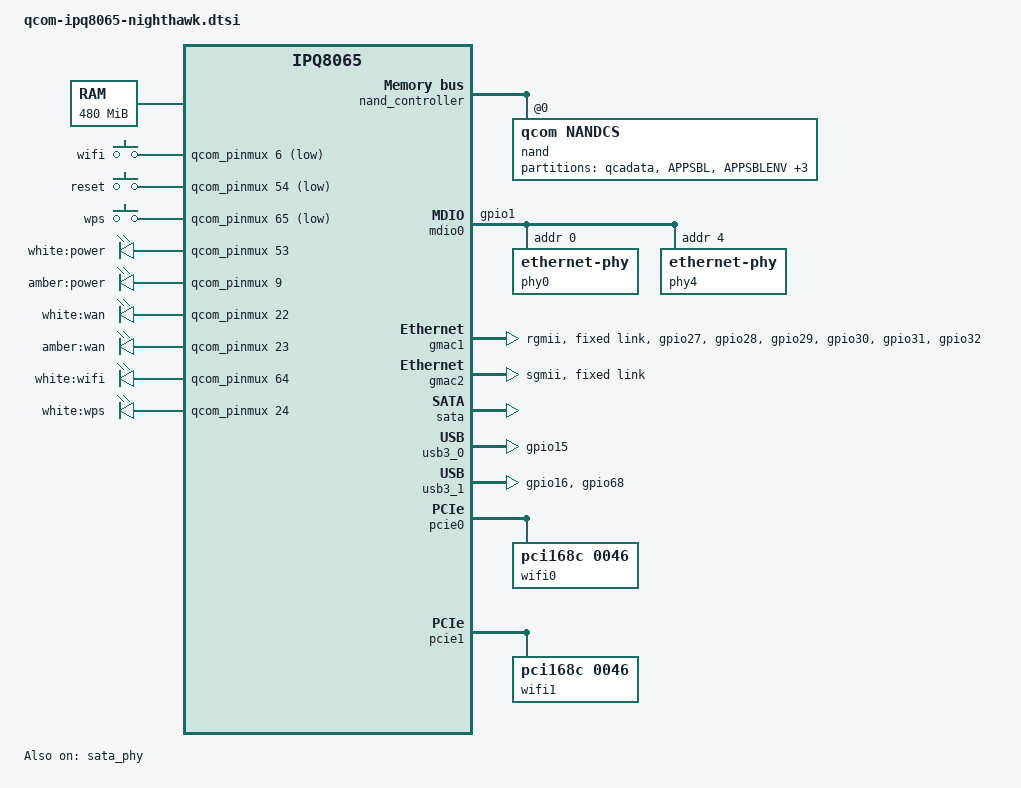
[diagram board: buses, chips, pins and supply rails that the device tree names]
#include "qcom-ipq8065.dtsi"

#include <dt-bindings/input/input.h>

/ {
	memory@0 {
		reg = <0x42000000 0x1e000000>;
		device_type = "memory";
	};

	reserved-memory {
		rsvd@5fe00000 {
			reg = <0x5fe00000 0x200000>;
			reusable;
		};

		ramoops@42100000 {
			compatible = "ramoops";
			reg = <0x42100000 0x40000>;
			record-size = <0x4000>;
			console-size = <0x4000>;
			ftrace-size = <0x4000>;
			pmsg-size = <0x4000>;
		};
	};

	aliases {
		label-mac-device = &gmac2;

		led-boot = &power_white;
		led-failsafe = &power_amber;
		led-running = &power_white;
		led-upgrade = &power_amber;

		mdio-gpio0 = &mdio0;
	};

	keys {
		compatible = "gpio-keys";
		pinctrl-0 = <&button_pins>;
		pinctrl-names = "default";

		wifi {
			label = "wifi";
			gpios = <&qcom_pinmux 6 GPIO_ACTIVE_LOW>;
			linux,code = <KEY_RFKILL>;
			debounce-interval = <60>;
			wakeup-source;
		};

		reset {
			label = "reset";
			gpios = <&qcom_pinmux 54 GPIO_ACTIVE_LOW>;
			linux,code = <KEY_RESTART>;
			debounce-interval = <60>;
			wakeup-source;
		};

		wps {
			label = "wps";
			gpios = <&qcom_pinmux 65 GPIO_ACTIVE_LOW>;
			linux,code = <KEY_WPS_BUTTON>;
			debounce-interval = <60>;
			wakeup-source;
		};
	};

	leds: leds {
		compatible = "gpio-leds";
		pinctrl-0 = <&led_pins>;
		pinctrl-names = "default";

		power_white: power_white {
			label = "white:power";
			gpios = <&qcom_pinmux 53 GPIO_ACTIVE_HIGH>;
			default-state = "keep";
		};

		power_amber: power_amber {
			label = "amber:power";
			gpios = <&qcom_pinmux 9 GPIO_ACTIVE_HIGH>;
		};

		wan_white {
			label = "white:wan";
			gpios = <&qcom_pinmux 22 GPIO_ACTIVE_HIGH>;
		};

		wan_amber {
			label = "amber:wan";
			gpios = <&qcom_pinmux 23 GPIO_ACTIVE_HIGH>;
		};

		wifi {
			label = "white:wifi";
			gpios = <&qcom_pinmux 64 GPIO_ACTIVE_HIGH>;
		};

		wps {
			label = "white:wps";
			gpios = <&qcom_pinmux 24 GPIO_ACTIVE_HIGH>;
		};
	};
};

&qcom_pinmux {
	button_pins: button_pins {
		mux {
			pins = "gpio6", "gpio54", "gpio65";
			function = "gpio";
			drive-strength = <2>;
			bias-pull-up;
		};
	};

	led_pins: led_pins {
		mux {
			pins = "gpio7", "gpio8", "gpio9",
				"gpio22", "gpio23", "gpio24",
				"gpio26", "gpio53", "gpio64";
			function = "gpio";
			drive-strength = <2>;
			bias-pull-down;
		};
	};

	mdio0_pins: mdio0_pins {
		clk {
			pins = "gpio1";
			input-disable;
		};
	};

	rgmii2_pins: rgmii2_pins {
		tx {
			pins = "gpio27", "gpio28", "gpio29",
				"gpio30", "gpio31", "gpio32";
			input-disable;
		};
	};

	spi_pins: spi_pins {
		mux {
			pins = "gpio18", "gpio19", "gpio21";
			function = "gsbi5";
			bias-pull-down;
		};

		data {
			pins = "gpio18", "gpio19";
			drive-strength = <10>;
		};

		cs {
			pins = "gpio20";
			drive-strength = <10>;
			bias-pull-up;
		};

		clk {
			pins = "gpio21";
			drive-strength = <12>;
		};
	};

	spi6_pins: spi6_pins {
		mux {
			pins = "gpio55", "gpio56", "gpio58";
			function = "gsbi6";
			bias-pull-down;
		};

		mosi {
			pins = "gpio55";
			drive-strength = <12>;
		};

		miso {
			pins = "gpio56";
			drive-strength = <14>;
		};

		cs {
			pins = "gpio57";
			drive-strength = <12>;
			bias-pull-up;
		};

		clk {
			pins = "gpio58";
			drive-strength = <12>;
		};

		reset {
			pins = "gpio33";
			drive-strength = <10>;
			bias-pull-down;
			output-high;
		};
	};

	usb0_pwr_en_pins: usb0_pwr_en_pins {
		mux {
			pins = "gpio15";
			function = "gpio";
			drive-strength = <12>;
			bias-pull-down;
			output-high;
		};
	};

	usb1_pwr_en_pins: usb1_pwr_en_pins {
		mux {
			pins = "gpio16", "gpio68";
			function = "gpio";
			drive-strength = <12>;
			bias-pull-down;
			output-high;
		};
	};
};

&nand_controller {
	status = "okay";

	pinctrl-0 = <&nand_pins>;
	pinctrl-names = "default";

	nand@0 {
		reg = <0>;
		compatible = "qcom,nandcs";

		nand-ecc-strength = <4>;
		nand-bus-width = <8>;
		nand-ecc-step-size = <512>;

		nand-is-boot-medium;
		qcom,boot_pages_size = <0x1180000>;

		partitions: partitions {
			compatible = "fixed-partitions";
			#address-cells = <1>;
			#size-cells = <1>;

			partition@0 {
				label = "qcadata";
				reg = <0x0000000 0x0c80000>;
				read-only;
			};

			partition@c80000 {
				label = "APPSBL";
				reg = <0x0c80000 0x0500000>;
				read-only;
			};

			partition@1180000 {
				label = "APPSBLENV";
				reg = <0x1180000 0x0080000>;
				read-only;
			};

			art: partition@1200000 {
				label = "art";
				reg = <0x1200000 0x0140000>;
				read-only;
				compatible = "nvmem-cells";
				#address-cells = <1>;
				#size-cells = <1>;

				macaddr_art_0: macaddr@0 {
					reg = <0x0 0x6>;
				};

				macaddr_art_6: macaddr@6 {
					reg = <0x6 0x6>;
				};

				precal_art_1000: precal@1000 {
					reg = <0x1000 0x2f20>;
				};

				precal_art_5000: precal@5000 {
					reg = <0x5000 0x2f20>;
				};
			};

			partition@1340000 {
				label = "artbak";
				reg = <0x1340000 0x0140000>;
				read-only;
			};

			partition@1480000 {
				label = "kernel";
				reg = <0x1480000 0x0400000>;
			};
		};
	};
};

&mdio0 {
	status = "okay";

	pinctrl-0 = <&mdio0_pins>;
	pinctrl-names = "default";

	phy0: ethernet-phy@0 {
		reg = <0>;
		qca,ar8327-initvals = <
			0x00004 0x7600000   /* PAD0_MODE */
			0x00008 0x1000000   /* PAD5_MODE */
			0x0000c 0x80        /* PAD6_MODE */
			0x000e4 0xaa545     /* MAC_POWER_SEL */
			0x000e0 0xc74164de  /* SGMII_CTRL */
			0x0007c 0x4e        /* PORT0_STATUS */
			0x00094 0x4e        /* PORT6_STATUS */
			0x00970 0x1e864443  /* QM_PORT0_CTRL0 */
			0x00974 0x000001c6  /* QM_PORT0_CTRL1 */
			0x00978 0x19008643  /* QM_PORT1_CTRL0 */
			0x0097c 0x000001c6  /* QM_PORT1_CTRL1 */
			0x00980 0x19008643  /* QM_PORT2_CTRL0 */
			0x00984 0x000001c6  /* QM_PORT2_CTRL1 */
			0x00988 0x19008643  /* QM_PORT3_CTRL0 */
			0x0098c 0x000001c6  /* QM_PORT3_CTRL1 */
			0x00990 0x19008643  /* QM_PORT4_CTRL0 */
			0x00994 0x000001c6  /* QM_PORT4_CTRL1 */
			0x00998 0x1e864443  /* QM_PORT5_CTRL0 */
			0x0099c 0x000001c6  /* QM_PORT5_CTRL1 */
			0x009a0 0x1e864443  /* QM_PORT6_CTRL0 */
			0x009a4 0x000001c6  /* QM_PORT6_CTRL1 */
			>;
		qca,ar8327-vlans = <
			0x1	0x5e	    /* VLAN1 Ports 1/2/3/4/6 */
			0x2	0x21	    /* VLAN2 Ports 0/5 */
		>;
	};

	phy4: ethernet-phy@4 {
		reg = <4>;
		qca,ar8327-initvals = <
			0x000e4 0x6a545     /* MAC_POWER_SEL */
			0x0000c 0x80        /* PAD6_MODE */
			>;
	};
};

&gmac1 {
	status = "okay";

	phy-mode = "rgmii";
	qcom,id = <1>;
	qcom,phy_mdio_addr = <4>;
	qcom,poll_required = <0>;
	qcom,rgmii_delay = <1>;
	qcom,phy_mii_type = <0>;
	qcom,emulation = <0>;
	qcom,irq = <255>;
	mdiobus = <&mdio0>;

	pinctrl-0 = <&rgmii2_pins>;
	pinctrl-names = "default";

	nvmem-cells = <&macaddr_art_6>;
	nvmem-cell-names = "mac-address";

	fixed-link {
		speed = <1000>;
		full-duplex;
	};
};

&gmac2 {
	status = "okay";

	phy-mode = "sgmii";
	qcom,id = <2>;
	qcom,phy_mdio_addr = <0>;	/* none */
	qcom,poll_required = <0>;	/* no polling */
	qcom,rgmii_delay = <0>;
	qcom,phy_mii_type = <1>;
	qcom,emulation = <0>;
	qcom,irq = <258>;
	mdiobus = <&mdio0>;

	nvmem-cells = <&macaddr_art_0>;
	nvmem-cell-names = "mac-address";

	fixed-link {
		speed = <1000>;
		full-duplex;
	};
};

&adm_dma {
	status = "okay";
};

&sata_phy {
	status = "okay";
};

&sata {
	status = "okay";
};

&usb3_0 {
	status = "okay";

	pinctrl-0 = <&usb0_pwr_en_pins>;
	pinctrl-names = "default";
};

&usb3_1 {
	status = "okay";

	pinctrl-0 = <&usb1_pwr_en_pins>;
	pinctrl-names = "default";
};

&pcie0 {
	status = "okay";

	bridge@0,0 {
		reg = <0x00000000 0 0 0 0>;
		#address-cells = <3>;
		#size-cells = <2>;
		ranges;

		wifi0: wifi@1,0 {
			compatible = "pci168c,0046";
			reg = <0x00010000 0 0 0 0>;
		};
	};
};

&pcie1 {
	status = "okay";

	max-link-speed = <1>;

	bridge@0,0 {
		reg = <0x00000000 0 0 0 0>;
		#address-cells = <3>;
		#size-cells = <2>;
		ranges;

		wifi1: wifi@1,0 {
			compatible = "pci168c,0046";
			reg = <0x00010000 0 0 0 0>;
		};
	};
};
